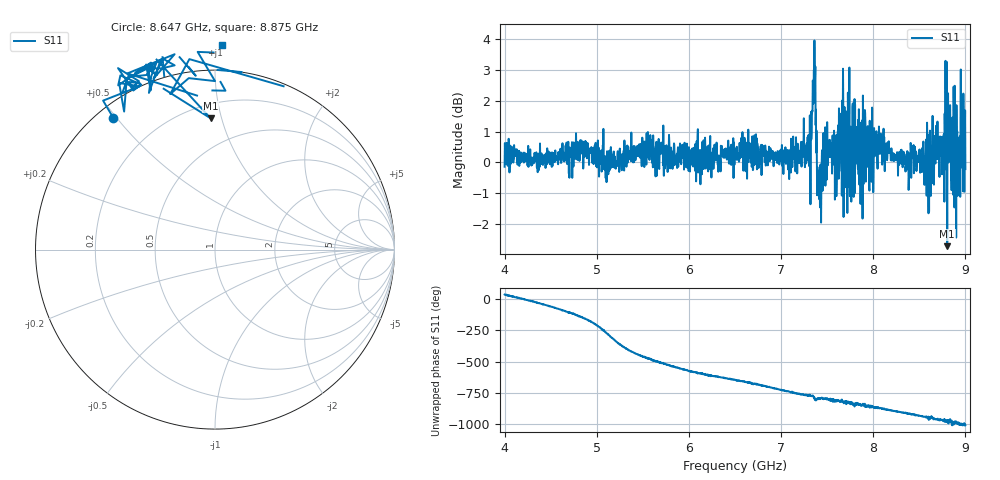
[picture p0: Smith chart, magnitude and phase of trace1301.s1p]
! Created with skrf 1.8.0 (http://scikit-rf.org).
# Hz S RI R 50.0
!freq ReS11 ImS11
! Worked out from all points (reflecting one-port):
!   1601 points, 4 GHz to 9 GHz, reference 50 ohm
!   lowest |S11| = -2.7 dB at 8.803 GHz (marker M1), VSWR 6.45, Z = 14.7 + j46.2 ohm
!   phase of S11 starts at 38 deg and turns -1051 deg over the sweep
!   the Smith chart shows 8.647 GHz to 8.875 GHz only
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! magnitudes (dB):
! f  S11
! 4 GHz  -0.1
! 4.625 GHz  0.4
! 5.25 GHz  0.5
! 5.566 GHz  0.3
! 5.625 GHz  -0.1
! 5.875 GHz  -0.1
! 6.5 GHz  0.2
! 7.125 GHz  0.5
! 7.297 GHz  0.9
! 7.353 GHz  2.5
! 7.369 GHz  2.8
! 7.412 GHz  -1.2
! 7.481 GHz  -0.8
! 7.609 GHz  0.5
! 7.669 GHz  1.0
! 7.75 GHz  0.3
! 7.769 GHz  -0.5
! 7.822 GHz  0.4
! 7.875 GHz  0.0
! 7.928 GHz  0.8
! 7.981 GHz  -0.6
! 8.05 GHz  0.9
! 8.375 GHz  -0.2
! 8.603 GHz  0.7
! 8.803 GHz  -2.7
! 8.856 GHz  -0.1
! 8.972 GHz  0.4
! 9 GHz  -0.2
